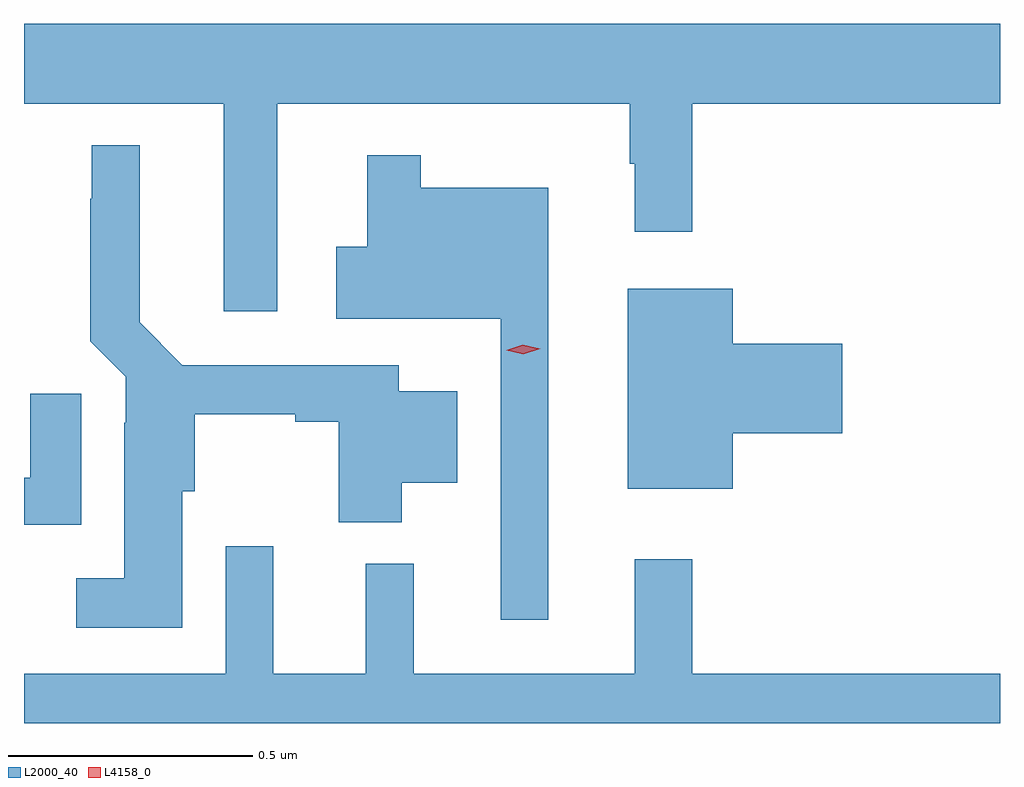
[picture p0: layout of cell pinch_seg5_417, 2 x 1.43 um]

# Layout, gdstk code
import gdstk
lib = gdstk.Library(unit=1e-6, precision=1e-09)
def P(c, l, *ps):  # polygons
    for p in ps: c.add(gdstk.Polygon(p, *l))
L2000_40 = (2000, 40)
L4158_0 = (4158, 0)

pinch_seg5_417 = lib.new_cell('pinch_seg5_417')
P(pinch_seg5_417, L2000_40, [(985.957,855.428),(986.679,855.428),(986.679,855.305),(986.69,855.305),(986.69,855.165),(986.807,855.165),(986.807,855.428),(987.438,855.428),(987.438,855.592),(985.438,855.592),(985.438,855.428),(985.847,855.428),(985.847,855.003),(985.957,855.003)],
  [(985.762,854.634),(985.788,854.634),(985.788,854.791),(985.994,854.791),(985.994,854.776),(986.083,854.776),(986.083,854.57),(986.212,854.57),(986.212,854.651),(986.326,854.651),(986.326,854.839),(986.206,854.839),(986.206,854.892),(985.762,854.892),(985.675,854.98),(985.675,855.343),(985.577,855.343),(985.577,855.233),(985.574,855.233),(985.574,854.941),(985.647,854.868),(985.647,854.774),(985.643,854.774),(985.643,854.455),(985.545,854.455),(985.545,854.354),(985.762,854.354)],
  [(986.512,855.256),(986.251,855.256),(986.251,855.322),(986.141,855.322),(986.141,855.135),(986.078,855.135),(986.078,854.987),(986.415,854.987),(986.415,854.37),(986.512,854.37)],
  [(986.89,854.753),(987.115,854.753),(987.115,854.936),(986.89,854.936),(986.89,855.049),(986.675,855.049),(986.675,854.639),(986.89,854.639)],
  [(985.555,854.833),(985.451,854.833),(985.451,854.661),(985.438,854.661),(985.438,854.565),(985.555,854.565)],
  [(987.438,854.26),(986.807,854.26),(986.807,854.494),(986.69,854.494),(986.69,854.26),(986.237,854.26),(986.237,854.485),(986.138,854.485),(986.138,854.26),(985.949,854.26),(985.949,854.521),(985.851,854.521),(985.851,854.26),(985.438,854.26),(985.438,854.158),(987.438,854.158)])
P(pinch_seg5_417, L4158_0, [(986.461,854.914),(986.426,854.923),(986.425,854.923),(986.426,854.923),(986.46,854.934),(986.496,854.926),(986.496,854.926),(986.496,854.926)])

lib.write_gds('pinch_seg5_417.gds')
